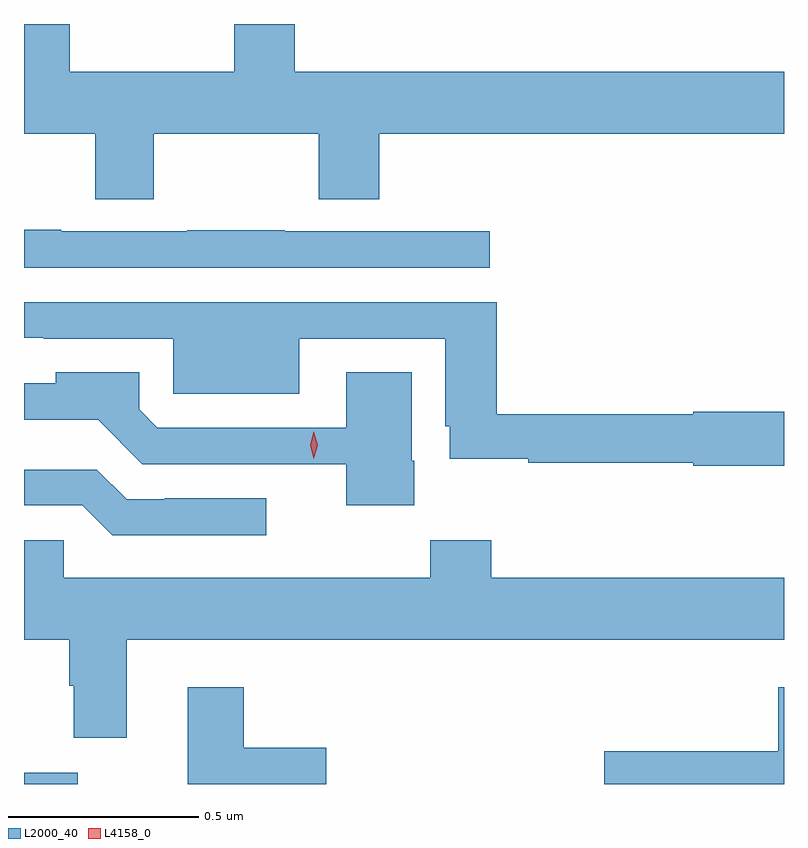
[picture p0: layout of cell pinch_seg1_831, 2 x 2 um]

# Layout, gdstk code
import gdstk
lib = gdstk.Library(unit=1e-6, precision=1e-09)
def R(c, l, rs):  # rectangles x0, y0, x1, y1
    for r in rs: c.add(gdstk.rectangle(r[:2], r[2:], *l))
def P(c, l, *ps):  # polygons
    for p in ps: c.add(gdstk.Polygon(p, *l))
L2000_40 = (2000, 40)
L4158_0 = (4158, 0)

pinch_seg1_831 = lib.new_cell('pinch_seg1_831')
R(pinch_seg1_831, L2000_40, [(390.693,566.005,390.835,566.035)])
P(pinch_seg1_831, L2000_40, [(391.035,567.716),(391.468,567.716),(391.468,567.544),(391.628,567.544),(391.628,567.716),(392.693,567.716),(392.693,567.88),(391.406,567.88),(391.406,568.005),(391.246,568.005),(391.246,567.88),(390.813,567.88),(390.813,568.005),(390.693,568.005),(390.693,567.716),(390.88,567.716),(390.88,567.544),(391.035,567.544)],
  [(391.918,567.459),(391.379,567.459),(391.379,567.462),(391.123,567.462),(391.123,567.459),(390.791,567.459),(390.791,567.464),(390.693,567.464),(390.693,567.363),(391.918,567.363)],
  [(392.693,566.984),(392.454,566.984),(392.454,566.978),(391.937,566.978),(391.937,567.273),(390.693,567.273),(390.693,567.179),(390.745,567.179),(390.745,567.177),(391.086,567.177),(391.086,567.032),(391.417,567.032),(391.417,567.177),(391.802,567.177),(391.802,566.946),(391.814,566.946),(391.814,566.861),(392.02,566.861),(392.02,566.85),(392.454,566.85),(392.454,566.842),(392.693,566.842)],
  [(391.72,566.856),(391.714,566.856),(391.714,567.088),(391.541,567.088),(391.541,566.943),(391.044,566.943),(390.996,566.991),(390.996,567.088),(390.777,567.088),(390.777,567.06),(390.693,567.06),(390.693,566.963),(390.888,566.963),(391.004,566.847),(391.541,566.847),(391.541,566.738),(391.72,566.738)],
  [(391.33,566.757),(391.063,566.757),(391.063,566.754),(390.963,566.754),(390.885,566.832),(390.693,566.832),(390.693,566.739),(390.846,566.739),(390.925,566.66),(391.33,566.66)],
  [(390.964,566.384),(392.693,566.384),(392.693,566.548),(391.922,566.548),(391.922,566.647),(391.762,566.647),(391.762,566.548),(390.798,566.548),(390.798,566.646),(390.693,566.646),(390.693,566.384),(390.812,566.384),(390.812,566.264),(390.824,566.264),(390.824,566.127),(390.964,566.127)],
  [(391.489,566.101),(391.271,566.101),(391.271,566.26),(391.124,566.26),(391.124,566.005),(391.489,566.005)],
  [(392.693,566.26),(392.678,566.26),(392.678,566.091),(392.22,566.091),(392.22,566.005),(392.693,566.005)])
P(pinch_seg1_831, L4158_0, [(391.456,566.861),(391.456,566.862),(391.446,566.897),(391.456,566.932),(391.456,566.932),(391.456,566.932),(391.466,566.897),(391.456,566.862)])

lib.write_gds('pinch_seg1_831.gds')
